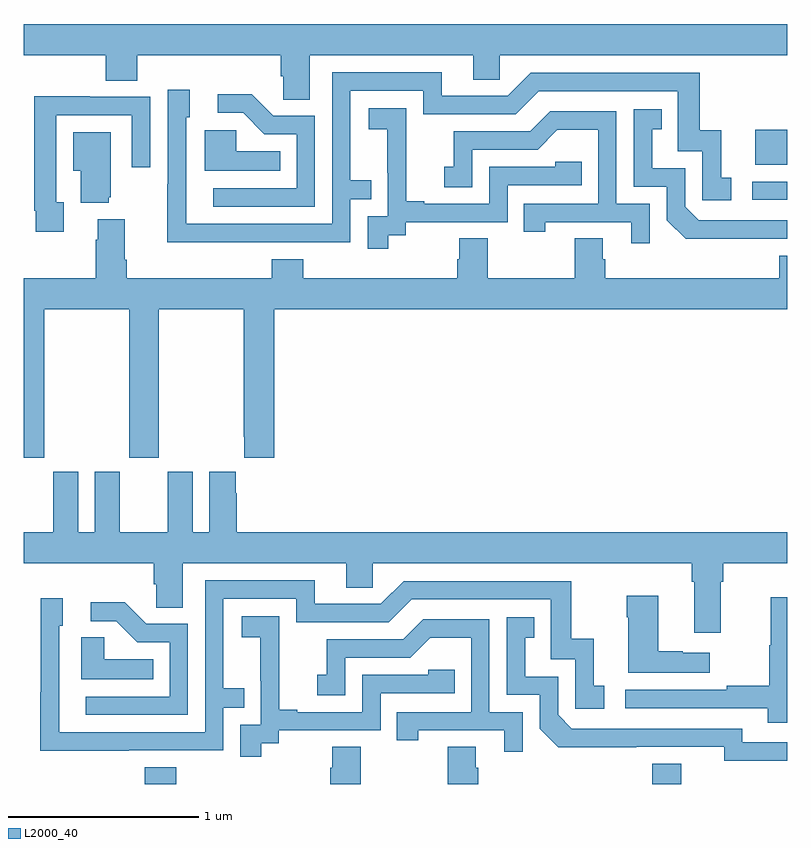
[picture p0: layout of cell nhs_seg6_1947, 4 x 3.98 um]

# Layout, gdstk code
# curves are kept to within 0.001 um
import gdstk
lib = gdstk.Library(unit=1e-6, precision=1e-09)
def R(c, l, rs):  # rectangles x0, y0, x1, y1
    for r in rs: c.add(gdstk.rectangle(r[:2], r[2:], *l))
def P(c, l, *ps):  # polygons
    for p in ps: c.add(gdstk.Polygon(p, *l))
L2000_40 = (2000, 40)

nhs_seg6_1947 = lib.new_cell('nhs_seg6_1947')
R(nhs_seg6_1947, L2000_40, [(227.633,959.5,227.798,959.587), (230.294,959.5,230.446,959.605), (230.817,962.562,231,962.658), (230.834,962.747,231,962.929)])
P(nhs_seg6_1947, L2000_40, [(228.499,963.32),(229.355,963.32),(229.355,963.193),(229.494,963.193),(229.494,963.32),(231,963.32),(231,963.484),(227,963.484),(227,963.32),(227.429,963.32),(227.429,963.187),(227.594,963.187),(227.594,963.32),(228.347,963.32),(228.347,963.211),(228.36,963.211),(228.36,963.088),(228.499,963.088)],
  [(228.215,962.34),(228.711,962.34),(228.711,962.565),(228.821,962.565),(228.821,962.666),(228.711,962.666),(228.711,963.135),(229.092,963.135),(229.092,963.012),(229.578,963.012),(229.698,963.132),(230.427,963.132),(230.427,962.817),(230.556,962.817),(230.556,962.559),(230.707,962.559),(230.707,962.679),(230.654,962.679),(230.654,962.926),(230.543,962.926),(230.543,963.228),(229.656,963.228),(229.536,963.108),(229.189,963.108),(229.189,963.231),(228.615,963.231),(228.615,962.436),(227.851,962.436),(227.85,962.994),(227.869,962.994),(227.869,963.139),(227.754,963.139),(227.754,962.645),(227.752,962.645),(227.752,962.339)],
  [(228.525,963.003),(228.306,963.003),(228.193,963.116),(228.015,963.116),(228.015,963.018),(228.149,963.018),(228.26,962.907),(228.429,962.907),(228.429,962.622),(227.991,962.622),(227.991,962.526),(228.525,962.526)],
  [(227.209,962.55),(227.169,962.55),(227.169,963.006),(227.565,963.006),(227.565,962.733),(227.661,962.733),(227.661,963.102),(227.345,963.102),(227.345,963.104),(227.053,963.104),(227.053,962.506),(227.061,962.506),(227.061,962.394),(227.209,962.394)],
  [(228.91,962.377),(229.002,962.377),(229.002,962.445),(229.536,962.445),(229.536,962.64),(229.925,962.64),(229.925,962.763),(229.785,962.763),(229.785,962.736),(229.44,962.736),(229.44,962.541),(229.099,962.541),(229.099,962.554),(229.004,962.554),(229.004,962.837),(229.005,962.837),(229.005,963.043),(228.807,963.043),(228.807,962.933),(228.905,962.933),(228.905,962.705),(228.906,962.705),(228.906,962.475),(228.801,962.475),(228.801,962.307),(228.91,962.307)],
  [(230.876,962.358),(231,962.358),(231,962.454),(230.538,962.454),(230.466,962.526),(230.466,962.727),(230.293,962.727),(230.293,962.931),(230.342,962.931),(230.342,963.037),(230.196,963.037),(230.196,962.631),(230.37,962.631),(230.37,962.454),(230.468,962.357)],
  [(230.28,962.541),(230.106,962.541),(230.106,963.027),(229.76,963.027),(229.655,962.922),(229.252,962.922),(229.252,962.737),(229.203,962.737),(229.203,962.628),(229.35,962.628),(229.35,962.826),(229.692,962.826),(229.796,962.93),(230.01,962.93),(230.01,962.541),(229.621,962.541),(229.621,962.394),(229.732,962.394),(229.732,962.445),(230.183,962.445),(230.183,962.334),(230.28,962.334)],
  [(228.344,962.818),(228.114,962.818),(228.114,962.926),(227.948,962.926),(227.948,962.714),(228.344,962.714)],
  [(227.444,962.577),(227.455,962.577),(227.455,962.917),(227.258,962.917),(227.258,962.714),(227.297,962.714),(227.297,962.546),(227.444,962.546)],
  [(228.311,961.988),(231,961.988),(231,962.269),(230.96,962.269),(230.96,962.152),(230.048,962.152),(230.048,962.25),(230.035,962.25),(230.035,962.36),(229.888,962.36),(229.888,962.152),(229.431,962.152),(229.431,962.36),(229.283,962.36),(229.283,962.25),(229.271,962.25),(229.271,962.152),(228.464,962.152),(228.464,962.251),(228.299,962.251),(228.299,962.152),(227.54,962.152),(227.54,962.248),(227.527,962.248),(227.527,962.461),(227.387,962.461),(227.387,962.354),(227.375,962.354),(227.375,962.152),(227,962.152),(227,961.209),(227.106,961.209),(227.106,961.988),(227.551,961.988),(227.551,961.209),(227.706,961.209),(227.706,961.988),(228.151,961.988),(228.151,961.321),(228.155,961.321),(228.155,961.209),(228.311,961.209)],
  [(227.681,960.547),(227.694,960.547),(227.694,960.424),(227.833,960.424),(227.833,960.656),(228.689,960.656),(228.689,960.529),(228.828,960.529),(228.828,960.656),(230.501,960.656),(230.501,960.56),(230.513,960.56),(230.513,960.294),(230.653,960.294),(230.653,960.56),(230.666,960.56),(230.666,960.656),(231,960.656),(231,960.82),(228.116,960.82),(228.116,961.025),(228.109,961.025),(228.109,961.138),(227.972,961.138),(227.972,960.82),(227.884,960.82),(227.884,961.138),(227.753,961.138),(227.753,960.82),(227.503,960.82),(227.503,961.138),(227.372,961.138),(227.372,960.82),(227.284,960.82),(227.284,961.138),(227.153,961.138),(227.153,960.82),(227,960.82),(227,960.656),(227.681,960.656)],
  [(227.549,959.676),(228.045,959.676),(228.045,959.901),(228.155,959.901),(228.155,960.002),(228.045,960.002),(228.045,960.471),(228.426,960.471),(228.426,960.348),(228.912,960.348),(229.032,960.468),(229.761,960.468),(229.761,960.153),(229.89,960.153),(229.89,959.895),(230.041,959.895),(230.041,960.015),(229.988,960.015),(229.988,960.262),(229.87,960.262),(229.87,960.564),(228.99,960.564),(228.87,960.444),(228.523,960.444),(228.523,960.567),(227.949,960.567),(227.949,959.772),(227.184,959.772),(227.184,960.33),(227.203,960.33),(227.203,960.475),(227.088,960.475),(227.088,959.981),(227.086,959.981),(227.086,959.675)],
  [(230.596,960.187),(230.453,960.187),(230.453,960.197),(230.326,960.197),(230.326,960.487),(230.161,960.487),(230.161,960.374),(230.168,960.374),(230.168,960.083),(230.596,960.083)],
  [(231,960.478),(230.914,960.478),(230.914,960.228),(230.907,960.228),(230.907,960.014),(230.683,960.014),(230.683,959.994),(230.151,959.994),(230.151,959.898),(230.899,959.898),(230.899,959.82),(231,959.82)],
  [(227.859,960.339),(227.64,960.339),(227.527,960.452),(227.349,960.452),(227.349,960.354),(227.483,960.354),(227.594,960.243),(227.763,960.243),(227.763,959.958),(227.325,959.958),(227.325,959.862),(227.859,959.862)],
  [(228.244,959.713),(228.336,959.713),(228.336,959.781),(228.87,959.781),(228.87,959.976),(229.259,959.976),(229.259,960.099),(229.119,960.099),(229.119,960.072),(228.774,960.072),(228.774,959.877),(228.433,959.877),(228.433,959.89),(228.338,959.89),(228.338,960.173),(228.339,960.173),(228.339,960.379),(228.141,960.379),(228.141,960.269),(228.239,960.269),(228.239,960.041),(228.24,960.041),(228.24,959.811),(228.135,959.811),(228.135,959.643),(228.244,959.643)],
  [(231,959.718),(230.766,959.718),(230.766,959.79),(229.872,959.79),(229.8,959.862),(229.8,960.063),(229.627,960.063),(229.627,960.267),(229.676,960.267),(229.676,960.373),(229.53,960.373),(229.53,959.967),(229.704,959.967),(229.704,959.79),(229.802,959.693),(230.67,959.694),(230.67,959.621),(231,959.621)],
  [(229.614,959.877),(229.44,959.877),(229.44,960.363),(229.094,960.363),(228.989,960.258),(228.586,960.258),(228.586,960.073),(228.537,960.073),(228.537,959.964),(228.684,959.964),(228.684,960.162),(229.026,960.162),(229.13,960.266),(229.344,960.266),(229.344,959.877),(228.955,959.877),(228.955,959.73),(229.066,959.73),(229.066,959.781),(229.517,959.781),(229.517,959.67),(229.614,959.67)],
  [(227.678,960.154),(227.421,960.154),(227.421,960.269),(227.3,960.269),(227.3,960.05),(227.678,960.05)],
  [(228.765,959.696),(228.617,959.696),(228.617,959.586),(228.605,959.586),(228.605,959.5),(228.765,959.5)],
  [(229.382,959.586),(229.369,959.586),(229.369,959.696),(229.222,959.696),(229.222,959.5),(229.382,959.5)])

lib.write_gds('nhs_seg6_1947.gds')
